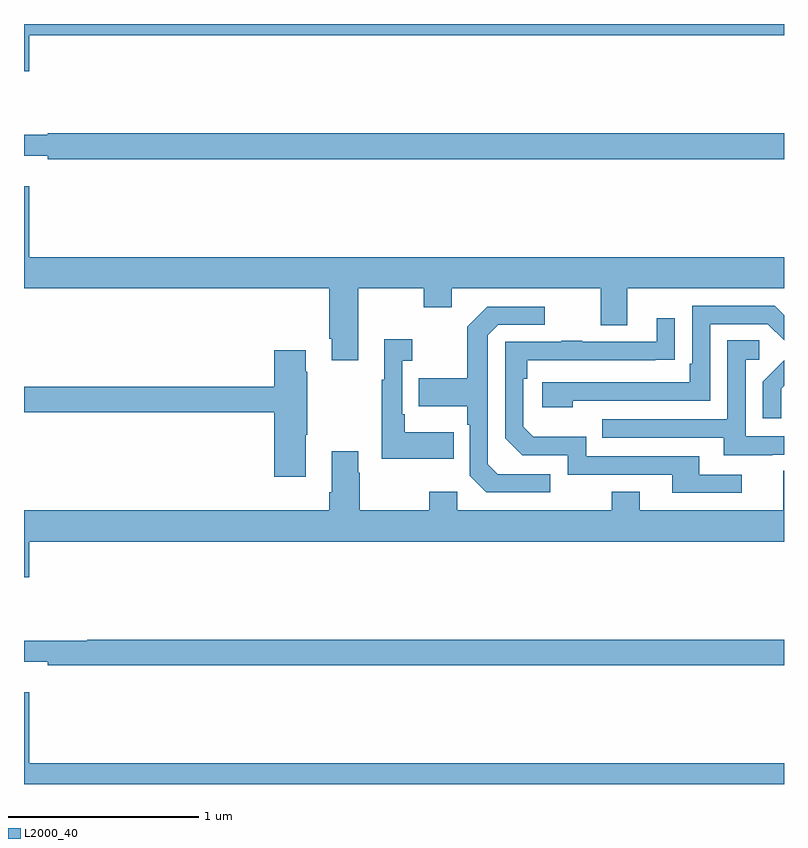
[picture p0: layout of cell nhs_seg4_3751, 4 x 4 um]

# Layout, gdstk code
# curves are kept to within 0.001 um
import gdstk
lib = gdstk.Library(unit=1e-6, precision=1e-09)
def P(c, l, *ps):  # polygons
    for p in ps: c.add(gdstk.Polygon(p, *l))
L2000_40 = (2000, 40)

nhs_seg4_3751 = lib.new_cell('nhs_seg4_3751')
P(nhs_seg4_3751, L2000_40, [(309.028,776.84),(313,776.84),(313,776.9),(309,776.9),(309,776.652),(309.028,776.652)],
  [(313,776.324),(309.125,776.324),(309.125,776.317),(309,776.317),(309,776.207),(309.124,776.207),(309.124,776.188),(313,776.188)],
  [(310.759,775.508),(311.104,775.508),(311.104,775.409),(311.251,775.409),(311.251,775.508),(312.035,775.508),(312.035,775.314),(312.175,775.314),(312.175,775.508),(313,775.508),(313,775.672),(309.028,775.672),(309.028,776.047),(309,776.047),(309,775.508),(310.607,775.508),(310.607,775.243),(310.619,775.243),(310.619,775.131),(310.759,775.131)],
  [(311.888,774.918),(312.612,774.918),(312.612,775.32),(312.915,775.32),(313,775.235),(313,775.367),(312.951,775.416),(312.516,775.416),(312.516,775.111),(312.503,775.111),(312.503,775.014),(311.727,775.014),(311.727,774.884),(311.888,774.884)],
  [(311.77,774.531),(311.493,774.531),(311.442,774.582),(311.442,775.263),(311.496,775.317),(311.74,775.317),(311.74,775.413),(311.439,775.413),(311.334,775.307),(311.334,775.035),(311.077,775.035),(311.077,774.887),(311.334,774.887),(311.334,774.791),(311.346,774.791),(311.346,774.522),(311.433,774.435),(311.77,774.435)],
  [(312.778,774.528),(312.553,774.528),(312.553,774.624),(311.958,774.624),(311.958,774.727),(311.681,774.727),(311.628,774.78),(311.628,775.034),(311.648,775.034),(311.648,775.131),(312.425,775.132),(312.425,775.351),(312.329,775.351),(312.329,775.227),(311.939,775.227),(311.939,775.232),(311.827,775.232),(311.827,775.227),(311.532,775.227),(311.532,774.72),(311.622,774.63),(311.862,774.63),(311.862,774.528),(312.413,774.528),(312.413,774.432),(312.778,774.432)],
  [(311.261,774.751),(311.005,774.751),(311.005,774.847),(310.992,774.847),(310.992,775.127),(311.044,775.127),(311.044,775.24),(310.895,775.24),(310.895,775.027),(310.884,775.027),(310.884,774.611),(311.261,774.611)],
  [(312.937,774.633),(313,774.633),(313,774.729),(312.798,774.729),(312.798,775.134),(312.871,775.134),(312.871,775.235),(312.702,775.235),(312.702,774.819),(312.043,774.819),(312.043,774.723),(312.683,774.723),(312.683,774.629),(312.937,774.629)],
  [(310.483,774.739),(310.491,774.739),(310.491,775.07),(310.483,775.07),(310.483,775.183),(310.316,775.183),(310.316,774.992),(309,774.992),(309,774.856),(310.316,774.856),(310.316,774.516),(310.483,774.516)],
  [(312.985,774.981),(313,774.996),(313,775.13),(312.888,775.018),(312.888,774.825),(312.985,774.825)],
  [(310.619,774.652),(310.619,774.436),(310.607,774.436),(310.607,774.34),(309,774.34),(309,773.988),(309.028,773.988),(309.028,774.176),(313,774.176),(313,774.548),(312.995,774.548),(312.995,774.34),(312.241,774.34),(312.241,774.439),(312.094,774.439),(312.094,774.34),(311.28,774.34),(311.28,774.439),(311.134,774.439),(311.134,774.34),(310.767,774.34),(310.767,774.539),(310.759,774.539),(310.759,774.652)],
  [(313,773.66),(309.334,773.66),(309.334,773.653),(309,773.653),(309,773.543),(309.124,773.543),(309.124,773.524),(313,773.524)],
  [(313,773.008),(309.028,773.008),(309.028,773.383),(309,773.383),(309,772.9),(313,772.9)])

lib.write_gds('nhs_seg4_3751.gds')
